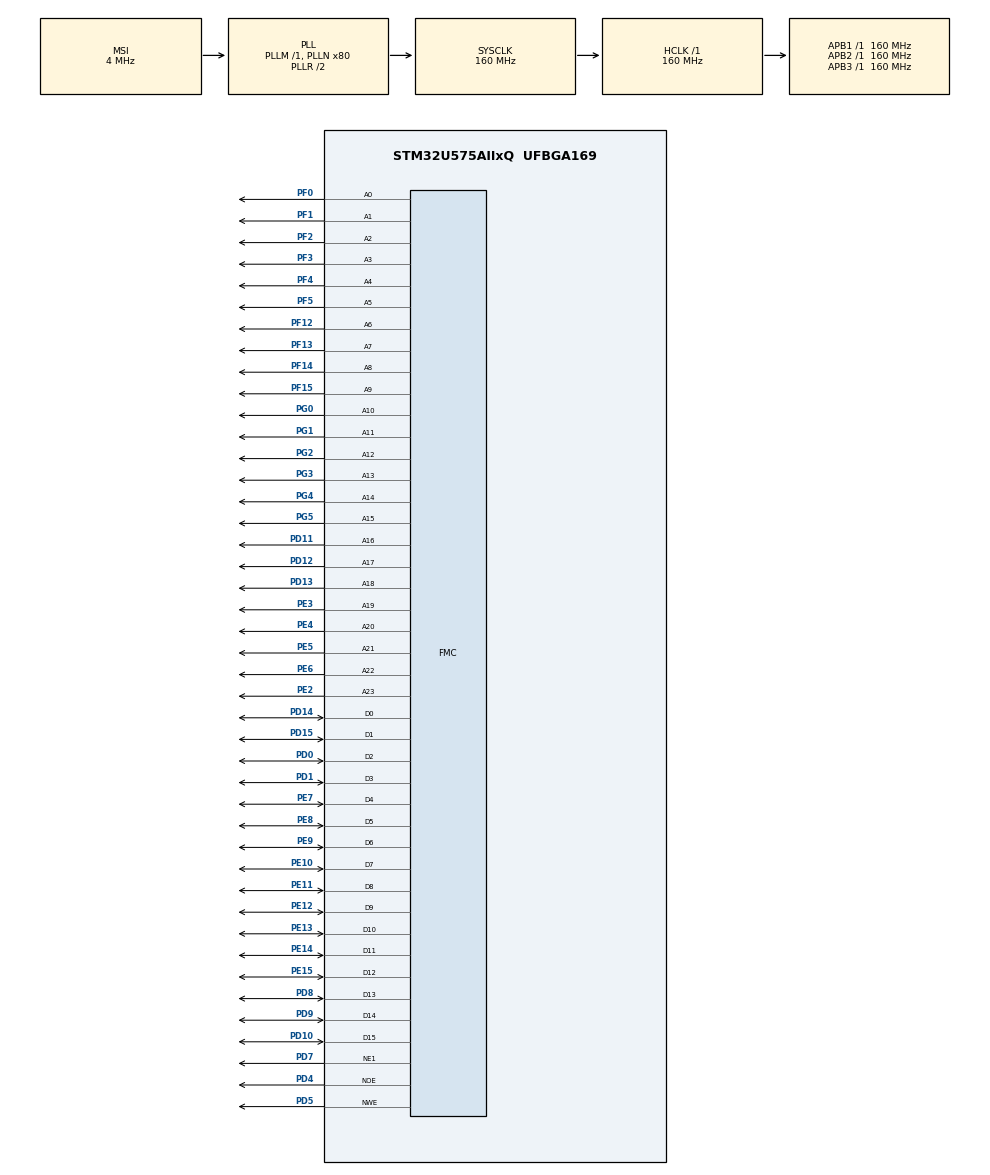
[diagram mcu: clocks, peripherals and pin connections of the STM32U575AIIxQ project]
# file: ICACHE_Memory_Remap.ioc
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CORTEX_M33_NS.userName=CORTEX_M33
FMC.AddressSetupTime1=9
FMC.BusTurnAroundDuration1=1
FMC.DataSetupTime1=6
FMC.WriteOperation1=FMC_WRITE_OPERATION_ENABLE
Mcu.Family=STM32U5
Mcu.Name=STM32U575AIIxQ
Mcu.Package=UFBGA169
NVIC.PriorityGroup=NVIC_PRIORITYGROUP_4
PD0.Signal=FMC_D2_DA2
PD1.Signal=FMC_D3_DA3
PD10.Signal=FMC_D15_DA15
PD11.Signal=FMC_A16_CLE
PD12.Signal=FMC_A17_ALE
PD13.Signal=FMC_A18
PD14.Signal=FMC_D0_DA0
PD15.Signal=FMC_D1_DA1
PD4.Signal=FMC_NOE
PD5.Signal=FMC_NWE
PD7.Mode=NorPsramChipSelect1_1
PD7.Signal=FMC_NE1
PD8.Signal=FMC_D13_DA13
PD9.Signal=FMC_D14_DA14
PE0.Signal=FMC_NBL0
PE1.Signal=FMC_NBL1
PE10.Signal=FMC_D7_DA7
PE11.Signal=FMC_D8_DA8
PE12.Signal=FMC_D9_DA9
PE13.Signal=FMC_D10_DA10
PE14.Signal=FMC_D11_DA11
PE15.Signal=FMC_D12_DA12
PE2.Signal=FMC_A23
PE3.Signal=FMC_A19
PE4.Signal=FMC_A20
PE5.Signal=FMC_A21
PE6.Signal=FMC_A22
PE7.Signal=FMC_D4_DA4
PE8.Signal=FMC_D5_DA5
PE9.Signal=FMC_D6_DA6
PF0.Signal=FMC_A0
PF1.Signal=FMC_A1
PF12.Signal=FMC_A6
PF13.Signal=FMC_A7
PF14.Signal=FMC_A8
PF15.Signal=FMC_A9
PF2.Signal=FMC_A2
PF3.Signal=FMC_A3
PF4.Signal=FMC_A4
PF5.Signal=FMC_A5
PG0.Signal=FMC_A10
PG1.Signal=FMC_A11
PG2.Signal=FMC_A12
PG3.Signal=FMC_A13
PG4.Signal=FMC_A14
PG5.Signal=FMC_A15
PWR.PowerMode=PWR_SMPS_SUPPLY
ProjectManager.HeapSize=0x200
ProjectManager.StackSize=0x400
ProjectManager.TargetToolchain=EWARM V8.50
RCC.ADCFreq_Value=16000000
RCC.AHBFreq_Value=160000000
RCC.APB1Freq_Value=160000000
RCC.APB1TimFreq_Value=160000000
RCC.APB2Freq_Value=160000000
RCC.APB2TimFreq_Value=160000000
RCC.APB3Freq_Value=160000000
RCC.CortexFreq_Value=160000000
RCC.DACCLockSelectionVirtual=RCC_DAC1CLKSOURCE_LSI
RCC.DACCLockSelectionVirtualString=RCC_DAC1CLKSOURCE_LSI
RCC.EPOD_VALUE=4000000
RCC.HCLKFreq_Value=160000000
RCC.HSE_VALUE=16000000
RCC.HSI48_VALUE=48000000
RCC.HSI_VALUE=16000000
RCC.LSE_VALUE=32768
RCC.LSIDIV_VALUE=32000
RCC.MSI_VALUE=4000000
RCC.PLLN=80
RCC.SYSCLKFreq_VALUE=160000000
RCC.SYSCLKSource=RCC_SYSCLKSOURCE_PLLCLK
RCC.USBFreq_Value=48000000
RCC.VCOOutputFreq_Value=320000000
SH.FMC_A0.0=FMC_A0,24b-a1
SH.FMC_A1.0=FMC_A1,24b-a1
SH.FMC_A10.0=FMC_A10,24b-a1
SH.FMC_A11.0=FMC_A11,24b-a1
SH.FMC_A12.0=FMC_A12,24b-a1
SH.FMC_A13.0=FMC_A13,24b-a1
SH.FMC_A14.0=FMC_A14,24b-a1
SH.FMC_A15.0=FMC_A15,24b-a1
SH.FMC_A16_CLE.0=FMC_A16,24b-a1
SH.FMC_A17_ALE.0=FMC_A17,24b-a1
SH.FMC_A18.0=FMC_A18,24b-a1
SH.FMC_A19.0=FMC_A19,24b-a1
SH.FMC_A2.0=FMC_A2,24b-a1
SH.FMC_A20.0=FMC_A20,24b-a1
SH.FMC_A21.0=FMC_A21,24b-a1
SH.FMC_A22.0=FMC_A22,24b-a1
SH.FMC_A23.0=FMC_A23,24b-a1
SH.FMC_A3.0=FMC_A3,24b-a1
SH.FMC_A4.0=FMC_A4,24b-a1
SH.FMC_A5.0=FMC_A5,24b-a1
SH.FMC_A6.0=FMC_A6,24b-a1
SH.FMC_A7.0=FMC_A7,24b-a1
SH.FMC_A8.0=FMC_A8,24b-a1
SH.FMC_A9.0=FMC_A9,24b-a1
SH.FMC_D0_DA0.0=FMC_D0,16b-d1
SH.FMC_D10_DA10.0=FMC_D10,16b-d1
SH.FMC_D11_DA11.0=FMC_D11,16b-d1
SH.FMC_D12_DA12.0=FMC_D12,16b-d1
SH.FMC_D13_DA13.0=FMC_D13,16b-d1
SH.FMC_D14_DA14.0=FMC_D14,16b-d1
SH.FMC_D15_DA15.0=FMC_D15,16b-d1
SH.FMC_D1_DA1.0=FMC_D1,16b-d1
SH.FMC_D2_DA2.0=FMC_D2,16b-d1
SH.FMC_D3_DA3.0=FMC_D3,16b-d1
SH.FMC_D4_DA4.0=FMC_D4,16b-d1
SH.FMC_D5_DA5.0=FMC_D5,16b-d1
SH.FMC_D6_DA6.0=FMC_D6,16b-d1
SH.FMC_D7_DA7.0=FMC_D7,16b-d1
SH.FMC_D8_DA8.0=FMC_D8,16b-d1
SH.FMC_D9_DA9.0=FMC_D9,16b-d1
SH.FMC_NBL0.0=FMC_NBL0
SH.FMC_NBL1.0=FMC_NBL1
SH.FMC_NOE.0=FMC_NOE,Sram1
SH.FMC_NWE.0=FMC_NWE,Sram1
VP_ICACHE_VS_ICACHE.Mode=DirectMappedCache
VP_LPBAMQUEUE_VS_QUEUE.Mode=QUEUEMODE
VP_LPBAM_VS_SIG1.Mode=SmartRun
VP_LPBAM_VS_SIG4.Mode=LPDMA1
VP_PWR_VS_DBSignals.Mode=DisableDeadBatterySignals
VP_PWR_VS_LPOM.Mode=PowerOptimisation
VP_PWR_VS_SECSignals.Mode=Security/Privilege
board=custom

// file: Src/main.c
/* USER CODE BEGIN Header */
/**
  ******************************************************************************
  * @file           : main.c
  * @brief          : Main program body
  ******************************************************************************
  * @attention
  *
  * Copyright (c) 2021 STMicroelectronics.
  * All rights reserved.
  *
  * This software is licensed under terms that can be found in the LICENSE file
  * in the root directory of this software component.
  * If no LICENSE file comes with this software, it is provided AS-IS.
  *
  ******************************************************************************
  */
/* USER CODE END Header */
#include "main.h"

SRAM_HandleTypeDef hsram1;

/* USER CODE BEGIN PV */
uint8_t *flash_addr;
uint32_t extsram_size;
FMC_NORSRAM_TimingTypeDef SRAM_Timing;
ICACHE_RegionConfigTypeDef region_config;

#if defined(__ARMCC_VERSION)
extern uint32_t Load$$EXTSRAM_REGION$$Base;
extern uint32_t Load$$EXTSRAM_REGION$$Length;
#elif defined(__ICCARM__)
#pragma section =".extsram_region"
#pragma section =".extsram_region_init"
#elif defined(__GNUC__)
extern uint32_t _extsram_region_init_base;
extern uint32_t _extsram_region_init_length;
#endif

/* Function pointer declaration used to call remapped function */
typedef void (*funcptr)(void);

funcptr IO_Blink_extSRAM_Remapped;
/* USER CODE END PV */

void SystemClock_Config(void);
static void SystemPower_Config(void);
static void MX_GPIO_Init(void);
static void MX_ICACHE_Init(void);
static void MX_FMC_Init(void);
/* USER CODE BEGIN PFP */
static void IO_Blink_extSRAM(void);
/* USER CODE END PFP */

int main(void)
{

  /* USER CODE BEGIN 1 */
  /* STM32U5xx HAL library initialization:
       - Configure the Flash prefetch
       - Configure the Systick to generate an interrupt each 1 msec
       - Set NVIC Group Priority to 3
       - Low Level Initialization
     */
  /* USER CODE END 1 */

  /* MCU Configuration--------------------------------------------------------*/

  /* Reset of all peripherals, Initializes the Flash interface and the Systick. */
  HAL_Init();

  /* Configure the System Power */
  SystemPower_Config();

  /* Configure the system clock */
  SystemClock_Config();

  /* USER CODE BEGIN SysInit */
  /*##-1- Initialize Leds and the LCD #################################################*/
  BSP_LED_Init(LED_RED);
  BSP_LED_Init(LED_GREEN);
  /* USER CODE END SysInit */

  /* Initialize all configured peripherals */
  MX_GPIO_Init();
  MX_ICACHE_Init();
  MX_FMC_Init();
  /* USER CODE BEGIN 2 */
  /* Memory copy from ROM to external SRAM */
#if defined(__ARMCC_VERSION)
  extsram_size = (uint32_t)(&Load$$EXTSRAM_REGION$$Length);
  flash_addr = (uint8_t *)(&Load$$EXTSRAM_REGION$$Base);
#elif defined(__ICCARM__)
  extsram_size = __section_size(".extsram_region_init");
  flash_addr = (uint8_t *)(__section_begin(".extsram_region_init"));
#elif defined(__GNUC__)
  extsram_size = (uint32_t)((uint8_t *)(&_extsram_region_init_length));
  flash_addr = (uint8_t *)(&_extsram_region_init_base);
#endif

  if(HAL_SRAM_Write_8b(&hsram1, (uint32_t *)0x60000000, (uint8_t *)flash_addr, extsram_size) != HAL_OK)
  {
    Error_Handler();
  }

  /* Execute function from external RAM before remap */
  IO_Blink_extSRAM();    /* Blink the Green Led once, before remapping */

  /* Remap SRAM memory */
  region_config.TrafficRoute    = ICACHE_MASTER2_PORT;
  region_config.OutputBurstType = ICACHE_OUTPUT_BURST_INCR;
  region_config.Size            = ICACHE_REGIONSIZE_2MB;
  region_config.BaseAddress     = 0x10000000;
  region_config.RemapAddress    = 0x60000000;

  /* Disable Instruction cache */
  HAL_ICACHE_Disable();

  /* Enable the remapped region */
  if(HAL_ICACHE_EnableRemapRegion(ICACHE_REGION_1, &region_config) != HAL_OK)
  {
    Error_Handler();
  }

  /* Enable the Instruction and Data Cache */
  HAL_ICACHE_Enable();

   /* Set remap Blink function pointer */
  IO_Blink_extSRAM_Remapped = (funcptr)(0x10000001UL);

  /* USER CODE END 2 */

  /* Infinite loop */
  /* USER CODE BEGIN WHILE */
  while (1)
  {
    IO_Blink_extSRAM_Remapped();
    /* USER CODE END WHILE */

  }
}

void SystemClock_Config(void)
{
  RCC_OscInitTypeDef RCC_OscInitStruct = {0};
  RCC_ClkInitTypeDef RCC_ClkInitStruct = {0};

  /** Configure the main internal regulator output voltage
  */
  if (HAL_PWREx_ControlVoltageScaling(PWR_REGULATOR_VOLTAGE_SCALE1) != HAL_OK)
  {
    Error_Handler();
  }

  /** Initializes the CPU, AHB and APB buses clocks
  */
  RCC_OscInitStruct.OscillatorType = RCC_OSCILLATORTYPE_MSI;
  RCC_OscInitStruct.MSIState = RCC_MSI_ON;
  RCC_OscInitStruct.MSICalibrationValue = RCC_MSICALIBRATION_DEFAULT;
  RCC_OscInitStruct.MSIClockRange = RCC_MSIRANGE_4;
  RCC_OscInitStruct.PLL.PLLState = RCC_PLL_ON;
  RCC_OscInitStruct.PLL.PLLSource = RCC_PLLSOURCE_MSI;
  RCC_OscInitStruct.PLL.PLLMBOOST = RCC_PLLMBOOST_DIV1;
  RCC_OscInitStruct.PLL.PLLM = 1;
  RCC_OscInitStruct.PLL.PLLN = 80;
  RCC_OscInitStruct.PLL.PLLP = 2;
  RCC_OscInitStruct.PLL.PLLQ = 2;
  RCC_OscInitStruct.PLL.PLLR = 2;
  RCC_OscInitStruct.PLL.PLLRGE = RCC_PLLVCIRANGE_0;
  RCC_OscInitStruct.PLL.PLLFRACN = 0;
  if (HAL_RCC_OscConfig(&RCC_OscInitStruct) != HAL_OK)
  {
    Error_Handler();
  }

  /** Initializes the CPU, AHB and APB buses clocks
  */
  RCC_ClkInitStruct.ClockType = RCC_CLOCKTYPE_HCLK|RCC_CLOCKTYPE_SYSCLK
                              |RCC_CLOCKTYPE_PCLK1|RCC_CLOCKTYPE_PCLK2
                              |RCC_CLOCKTYPE_PCLK3;
  RCC_ClkInitStruct.SYSCLKSource = RCC_SYSCLKSOURCE_PLLCLK;
  RCC_ClkInitStruct.AHBCLKDivider = RCC_SYSCLK_DIV1;
  RCC_ClkInitStruct.APB1CLKDivider = RCC_HCLK_DIV1;
  RCC_ClkInitStruct.APB2CLKDivider = RCC_HCLK_DIV1;
  RCC_ClkInitStruct.APB3CLKDivider = RCC_HCLK_DIV1;

  if (HAL_RCC_ClockConfig(&RCC_ClkInitStruct, FLASH_LATENCY_4) != HAL_OK)
  {
    Error_Handler();
  }
}

/**
  * @brief Power Configuration
  * @retval None
  */
static void SystemPower_Config(void)
{
  HAL_PWREx_EnableVddIO2();

  /*
   * Disable the internal Pull-Up in Dead Battery pins of UCPD peripheral
   */
  HAL_PWREx_DisableUCPDDeadBattery();

  /*
   * Switch to SMPS regulator instead of LDO
   */
  if (HAL_PWREx_ConfigSupply(PWR_SMPS_SUPPLY) != HAL_OK)
  {
    Error_Handler();
  }
}

static void MX_ICACHE_Init(void)
{

  /** Enable instruction cache in 1-way (direct mapped cache)
  */
  if (HAL_ICACHE_ConfigAssociativityMode(ICACHE_1WAY) != HAL_OK)
  {
    Error_Handler();
  }
  if (HAL_ICACHE_Enable() != HAL_OK)
  {
    Error_Handler();
  }

}

/* FMC initialization function */
static void MX_FMC_Init(void)
{

  FMC_NORSRAM_TimingTypeDef Timing = {0};

  /** Perform the SRAM1 memory initialization sequence
  */
  hsram1.Instance = FMC_NORSRAM_DEVICE;
  hsram1.Extended = FMC_NORSRAM_EXTENDED_DEVICE;
  /* hsram1.Init */
  hsram1.Init.NSBank = FMC_NORSRAM_BANK1;
  hsram1.Init.DataAddressMux = FMC_DATA_ADDRESS_MUX_DISABLE;
  hsram1.Init.MemoryType = FMC_MEMORY_TYPE_SRAM;
  hsram1.Init.MemoryDataWidth = FMC_NORSRAM_MEM_BUS_WIDTH_16;
  hsram1.Init.BurstAccessMode = FMC_BURST_ACCESS_MODE_DISABLE;
  hsram1.Init.WaitSignalPolarity = FMC_WAIT_SIGNAL_POLARITY_LOW;
  hsram1.Init.WaitSignalActive = FMC_WAIT_TIMING_BEFORE_WS;
  hsram1.Init.WriteOperation = FMC_WRITE_OPERATION_ENABLE;
  hsram1.Init.WaitSignal = FMC_WAIT_SIGNAL_DISABLE;
  hsram1.Init.ExtendedMode = FMC_EXTENDED_MODE_DISABLE;
  hsram1.Init.AsynchronousWait = FMC_ASYNCHRONOUS_WAIT_DISABLE;
  hsram1.Init.WriteBurst = FMC_WRITE_BURST_DISABLE;
  hsram1.Init.ContinuousClock = FMC_CONTINUOUS_CLOCK_SYNC_ONLY;
  hsram1.Init.WriteFifo = FMC_WRITE_FIFO_ENABLE;
  hsram1.Init.NBLSetupTime = 0;
  hsram1.Init.PageSize = FMC_PAGE_SIZE_NONE;
  hsram1.Init.MaxChipSelectPulse = DISABLE;
  /* Timing */
  Timing.AddressSetupTime = 9;
  Timing.AddressHoldTime = 15;
  Timing.DataSetupTime = 6;
  Timing.DataHoldTime = 0;
  Timing.BusTurnAroundDuration = 1;
  Timing.CLKDivision = 16;
  Timing.DataLatency = 17;
  Timing.AccessMode = FMC_ACCESS_MODE_A;
  /* ExtTiming */

  if (HAL_SRAM_Init(&hsram1, &Timing, NULL) != HAL_OK)
  {
    Error_Handler( );
  }

}

static void MX_GPIO_Init(void)
{

  /* GPIO Ports Clock Enable */
  __HAL_RCC_GPIOE_CLK_ENABLE();
  __HAL_RCC_GPIOD_CLK_ENABLE();
  __HAL_RCC_GPIOF_CLK_ENABLE();
  __HAL_RCC_GPIOG_CLK_ENABLE();

}

/* USER CODE BEGIN 4 */
/**
  * @brief  Toggle led function in external SRAM executed after remap
  * @param  None
  * @retval None
  */
#if defined(__ICCARM__)
__root static void IO_Blink_extSRAM(void) @ ".extsram_region"

#elif defined(__ARMCC_VERSION)|| defined(__GNUC__)
 static void __attribute__((section(".extsram_region"), noinline)) IO_Blink_extSRAM(void)
#endif
{
  /* Turn on the Green Led */
  __asm("ldr  r2, =0x42020414          \n"
        "ldr  r1, [r2]                 \n"
        "orr  r1, r1, #0x1 << 7        \n"
        "str  r1, [r2]                 \n"
        );

  /* Delay */
  for(uint32_t i=0;i< 0x1FFFFFU;i++ )
  {
    __asm("nop");
  }

  /* Turn off the Green Led */
  __asm("bic  r1, r1, #0x1 << 7        \n"
        "str  r1, [r2]                 \n"
        );

  /* Delay */
  for(uint32_t i=0;i< 0x1FFFFFU;i++ )
  {
    __asm("nop");
  }
}

/* USER CODE END 4 */

void Error_Handler(void)
{
  /* USER CODE BEGIN Error_Handler_Debug */
  /* User can add his own implementation to report the HAL error return state */
    /* Turn LED Red on */
  BSP_LED_On(LED_RED);
  __disable_irq();
  while (1)
  {
  }
  /* USER CODE END Error_Handler_Debug */
}
